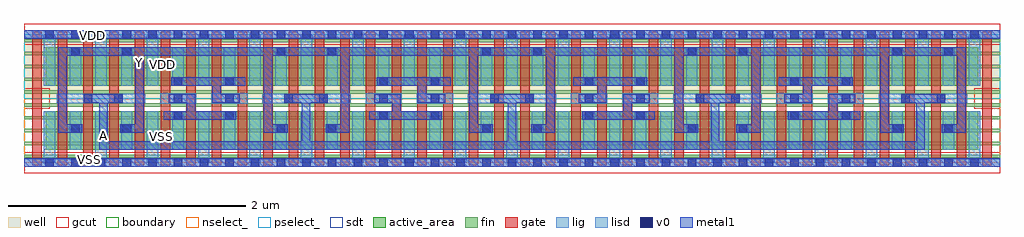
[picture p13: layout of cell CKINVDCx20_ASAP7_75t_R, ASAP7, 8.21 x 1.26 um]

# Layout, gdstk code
import gdstk
lib = gdstk.Library(unit=1e-6, precision=2.5e-10)
def R(c, l, rs):  # rectangles x0, y0, x1, y1
    for r in rs: c.add(gdstk.rectangle(r[:2], r[2:], *l))
def A(c, l, x, y, w, h, nx, ny, dx, dy):  # array of equal rectangles
    R(c, l, [(x+i*dx, y+j*dy, x+i*dx+w, y+j*dy+h) for i in range(nx) for j in range(ny)])
def P(c, l, *ps):  # polygons
    for p in ps: c.add(gdstk.Polygon(p, *l))
well = (1, 0)
fin = (2, 0)
gate = (7, 0)
gcut = (10, 0)
active_area = (11, 0)
nselect_ = (12, 0)
pselect_ = (13, 0)
lig = (16, 0)
lisd = (17, 0)
v0 = (18, 0)
metal1 = (19, 0)
sdt = (88, 0)
boundary = (100, 0)

ckinvdcx20_asap7_75t_r = lib.new_cell('CKINVDCx20_ASAP7_75t_R')
R(ckinvdcx20_asap7_75t_r, well, [(0,0.54,8.208,1.08)])
A(ckinvdcx20_asap7_75t_r, fin, 0, 0.04, 8.208, 0.028, 1, 10, 0, 0.108)
A(ckinvdcx20_asap7_75t_r, gate, 0.068, -0.02, 0.08, 1.12, 30, 1, 0.216, 0)
A(ckinvdcx20_asap7_75t_r, gate, 6.332, -0.02, 0.08, 1.12, 9, 1, 0.216, 0)
R(ckinvdcx20_asap7_75t_r, gcut, [(0,-0.088,8.208,0.088), (0,0.452,0.216,0.628), (7.992,0.452,8.208,0.628), (0,0.992,8.208,1.168)])
R(ckinvdcx20_asap7_75t_r, active_area, [(0.184,0.108,8.024,0.432), (0.184,0.648,8.024,0.972)])
R(ckinvdcx20_asap7_75t_r, nselect_, [(0,0,8.208,0.54)])
R(ckinvdcx20_asap7_75t_r, pselect_, [(0,0.54,8.208,1.08)])
A(ckinvdcx20_asap7_75t_r, lig, 0.276, 0.5, 0.744, 0.08, 5, 1, 1.728, 0)
R(ckinvdcx20_asap7_75t_r, lig, [(0,-0.032,8.208,0.032), (1.144,0.496,1.448,0.584), (1.576,0.496,1.88,0.584), (2.872,0.496,3.176,0.584), (3.304,0.496,3.608,0.584), (4.6,0.496,4.904,0.584), (5.032,0.496,5.336,0.584), (6.328,0.496,6.632,0.584), (6.76,0.496,7.064,0.584), (0,1.048,8.208,1.112)])
A(ckinvdcx20_asap7_75t_r, lisd, 0.168, 0, 0.096, 0.432, 15, 2, 0.432, 0.648)
A(ckinvdcx20_asap7_75t_r, lisd, 6.216, 0, 0.096, 0.432, 5, 2, 0.432, 0.648)
A(ckinvdcx20_asap7_75t_r, lisd, 0.384, 0.108, 0.096, 0.324, 18, 2, 0.432, 0.54)
A(ckinvdcx20_asap7_75t_r, v0, 0.18, -0.036, 0.072, 0.072, 29, 2, 0.216, 1.08)
A(ckinvdcx20_asap7_75t_r, v0, 6.228, -0.036, 0.072, 0.072, 9, 2, 0.216, 1.08)
A(ckinvdcx20_asap7_75t_r, v0, 1.26, 0.36, 0.072, 0.072, 1, 3, 0, 0.144)
A(ckinvdcx20_asap7_75t_r, v0, 1.692, 0.36, 0.072, 0.072, 1, 3, 0, 0.144)
A(ckinvdcx20_asap7_75t_r, v0, 2.988, 0.36, 0.072, 0.072, 1, 3, 0, 0.144)
A(ckinvdcx20_asap7_75t_r, v0, 3.42, 0.36, 0.072, 0.072, 1, 3, 0, 0.144)
A(ckinvdcx20_asap7_75t_r, v0, 4.716, 0.36, 0.072, 0.072, 1, 3, 0, 0.144)
A(ckinvdcx20_asap7_75t_r, v0, 5.148, 0.36, 0.072, 0.072, 1, 3, 0, 0.144)
A(ckinvdcx20_asap7_75t_r, v0, 6.444, 0.36, 0.072, 0.072, 1, 3, 0, 0.144)
A(ckinvdcx20_asap7_75t_r, v0, 6.876, 0.36, 0.072, 0.072, 1, 3, 0, 0.144)
R(ckinvdcx20_asap7_75t_r, v0, [(0.396,0.252,0.468,0.324), (0.828,0.252,0.9,0.324), (2.124,0.252,2.196,0.324), (2.556,0.252,2.628,0.324), (3.852,0.252,3.924,0.324), (4.284,0.252,4.356,0.324), (5.58,0.252,5.652,0.324), (6.012,0.252,6.084,0.324), (7.308,0.252,7.38,0.324), (7.74,0.252,7.812,0.324), (0.504,0.504,0.576,0.576), (0.76,0.504,0.832,0.576), (2.188,0.504,2.26,0.576), (2.484,0.504,2.556,0.576), (3.92,0.504,3.992,0.576), (4.216,0.504,4.288,0.576), (5.648,0.504,5.72,0.576), (5.948,0.504,6.02,0.576), (7.376,0.504,7.448,0.576), (7.676,0.504,7.748,0.576), (0.396,0.9,0.468,0.972), (0.828,0.9,0.9,0.972), (2.124,0.9,2.196,0.972), (2.556,0.9,2.628,0.972), (3.852,0.9,3.924,0.972), (4.284,0.9,4.356,0.972), (5.58,0.9,5.652,0.972), (6.012,0.9,6.084,0.972), (7.308,0.9,7.38,0.972), (7.74,0.9,7.812,0.972)])
R(ckinvdcx20_asap7_75t_r, metal1, [(0,-0.036,8.208,0.036), (0,1.044,8.208,1.116)])
P(ckinvdcx20_asap7_75t_r, metal1, [(4.02,0.108),(4.02,0.18),(7.504,0.18),(7.504,0.504),(7.376,0.504),(7.376,0.576),(7.748,0.576),(7.748,0.504),(7.576,0.504),(7.576,0.108)],
  [(1.176,0.36),(1.176,0.432),(1.368,0.432),(1.368,0.504),(1.216,0.504),(1.216,0.576),(1.44,0.576),(1.44,0.432),(1.784,0.432),(1.784,0.36)],
  [(1.584,0.504),(1.584,0.648),(1.24,0.648),(1.24,0.72),(1.86,0.72),(1.86,0.648),(1.656,0.648),(1.656,0.576),(1.816,0.576),(1.816,0.504)],
  [(7.2,0.252),(7.2,0.9),(6.136,0.9),(6.136,0.972),(7.92,0.972),(7.92,0.252),(7.72,0.252),(7.72,0.324),(7.848,0.324),(7.848,0.9),(7.272,0.9),(7.272,0.324),(7.4,0.324),(7.4,0.252)],
  [(2.904,0.36),(2.904,0.432),(3.096,0.432),(3.096,0.504),(2.944,0.504),(2.944,0.576),(3.168,0.576),(3.168,0.432),(3.512,0.432),(3.512,0.36)],
  [(0.288,0.252),(0.288,0.972),(5.28,0.972),(5.28,0.9),(4.464,0.9),(4.464,0.252),(4.264,0.252),(4.264,0.324),(4.392,0.324),(4.392,0.9),(3.816,0.9),(3.816,0.324),(3.944,0.324),(3.944,0.252),(3.744,0.252),(3.744,0.9),(2.736,0.9),(2.736,0.252),(2.536,0.252),(2.536,0.324),(2.664,0.324),(2.664,0.9),(2.088,0.9),(2.088,0.324),(2.216,0.324),(2.216,0.252),(2.016,0.252),(2.016,0.9),(1.008,0.9),(1.008,0.252),(0.808,0.252),(0.808,0.324),(0.936,0.324),(0.936,0.9),(0.36,0.9),(0.36,0.324),(0.488,0.324),(0.488,0.252)],
  [(5.472,0.252),(5.472,0.9),(5.268,0.9),(5.268,0.972),(6.192,0.972),(6.192,0.252),(5.992,0.252),(5.992,0.324),(6.12,0.324),(6.12,0.9),(5.544,0.9),(5.544,0.324),(5.672,0.324),(5.672,0.252)],
  [(0.632,0.108),(0.632,0.504),(0.504,0.504),(0.504,0.576),(0.832,0.576),(0.832,0.504),(0.704,0.504),(0.704,0.18),(2.336,0.18),(2.336,0.504),(2.188,0.504),(2.188,0.576),(2.556,0.576),(2.556,0.504),(2.408,0.504),(2.408,0.18),(4.068,0.18),(4.068,0.504),(3.92,0.504),(3.92,0.576),(4.288,0.576),(4.288,0.504),(4.14,0.504),(4.14,0.18),(5.28,0.18),(5.28,0.108)],
  [(6.392,0.504),(6.392,0.576),(6.552,0.576),(6.552,0.648),(6.348,0.648),(6.348,0.72),(6.968,0.72),(6.968,0.648),(6.624,0.648),(6.624,0.504)],
  [(6.424,0.36),(6.424,0.432),(6.768,0.432),(6.768,0.576),(6.992,0.576),(6.992,0.504),(6.84,0.504),(6.84,0.432),(7.032,0.432),(7.032,0.36)],
  [(3.312,0.504),(3.312,0.648),(2.968,0.648),(2.968,0.72),(3.588,0.72),(3.588,0.648),(3.384,0.648),(3.384,0.576),(3.544,0.576),(3.544,0.504)],
  [(4.664,0.504),(4.664,0.576),(4.824,0.576),(4.824,0.648),(4.62,0.648),(4.62,0.72),(5.24,0.72),(5.24,0.648),(4.896,0.648),(4.896,0.504)],
  [(4.696,0.36),(4.696,0.432),(5.04,0.432),(5.04,0.576),(5.264,0.576),(5.264,0.504),(5.112,0.504),(5.112,0.432),(5.304,0.432),(5.304,0.36)],
  [(5.292,0.108),(5.292,0.18),(5.776,0.18),(5.776,0.504),(5.648,0.504),(5.648,0.576),(6.02,0.576),(6.02,0.504),(5.848,0.504),(5.848,0.108)])
A(ckinvdcx20_asap7_75t_r, sdt, 0.168, 0.108, 0.096, 0.324, 29, 2, 0.216, 0.54)
A(ckinvdcx20_asap7_75t_r, sdt, 6.216, 0.108, 0.096, 0.324, 9, 2, 0.216, 0.54)
R(ckinvdcx20_asap7_75t_r, boundary, [(0,0,8.208,1.08)])
ckinvdcx20_asap7_75t_r.add(gdstk.Label('VSS', (0.548,0.024), layer=19, texttype=251))
ckinvdcx20_asap7_75t_r.add(gdstk.Label('VDD', (0.576,1.066), layer=19, texttype=251))
ckinvdcx20_asap7_75t_r.add(gdstk.Label('A', (0.672,0.228), layer=19, texttype=251))
ckinvdcx20_asap7_75t_r.add(gdstk.Label('Y', (0.972,0.84), layer=19, texttype=251))
ckinvdcx20_asap7_75t_r.add(gdstk.Label('VDD', (1.168,0.828), layer=1, texttype=251))
ckinvdcx20_asap7_75t_r.add(gdstk.Label('VSS', (1.156,0.22), layer=3, texttype=251))

lib.write_gds('CKINVDCx20_ASAP7_75t_R.gds')
